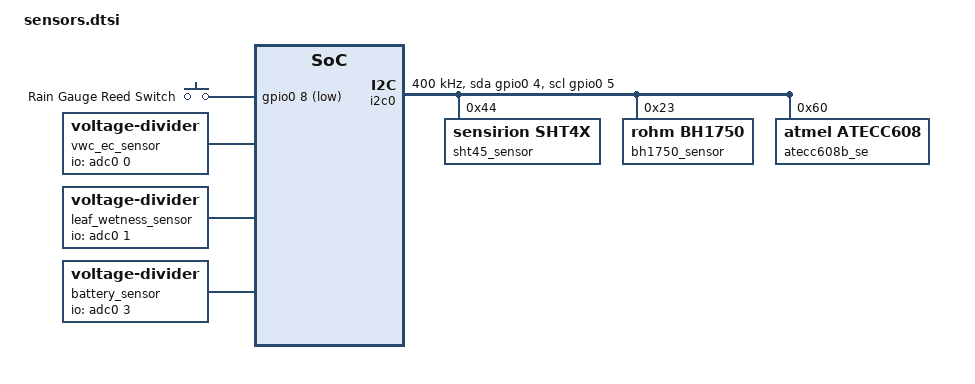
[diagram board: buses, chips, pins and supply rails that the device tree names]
/*
 * FLIP Sensor Node DTS - Sensors Definition
 * Target: ESP32-C3
 */

/ {
	aliases {
		sht45 = &sht45_sensor;
		bh1750 = &bh1750_sensor;
		atecc608b = &atecc608b_se;
		vwc-ec = &vwc_ec_sensor;
		leaf-wetness = &leaf_wetness_sensor;
		rain-gauge = &rain_gauge_sensor;
		battery-adc = &battery_sensor;
	};

	rain_gauge_sensor: rain_gauge {
		compatible = "gpio-keys";
		rain_gauge_pin: rain_gauge_pin {
			gpios = <&gpio0 8 (GPIO_PULL_UP | GPIO_ACTIVE_LOW)>;
			label = "Rain Gauge Reed Switch";
		};
	};

	vwc_ec_sensor: vwc_ec {
		compatible = "voltage-divider";
		io-channels = <&adc0 0>;
		output-ohms = <10000>;
		full-ohms = <20000>;
	};

	leaf_wetness_sensor: leaf_wetness {
		compatible = "voltage-divider";
		io-channels = <&adc0 1>;
		output-ohms = <10000>;
		full-ohms = <20000>;
	};

	battery_sensor: battery_adc {
		compatible = "voltage-divider";
		io-channels = <&adc0 3>;
		output-ohms = <100000>;
		full-ohms = <200000>; /* 2:1 divider for 3.2V - 4.2V battery */
	};
};

&i2c0 {
	status = "okay";
	clock-frequency = <I2C_BITRATE_FAST>;
	sda-gpios = <&gpio0 4 (GPIO_PULL_UP | GPIO_OPEN_DRAIN)>;
	scl-gpios = <&gpio0 5 (GPIO_PULL_UP | GPIO_OPEN_DRAIN)>;

	sht45_sensor: sht4x@44 {
		compatible = "sensirion,sht4x";
		reg = <0x44>;
		repeatability = <0>; /* High repeatability */
		status = "okay";
	};

	bh1750_sensor: bh1750@23 {
		compatible = "rohm,bh1750";
		reg = <0x23>;
		status = "okay";
	};

	atecc608b_se: atecc608b@60 {
		compatible = "atmel,atecc608";
		reg = <0x60>;
		status = "okay";
	};
};
